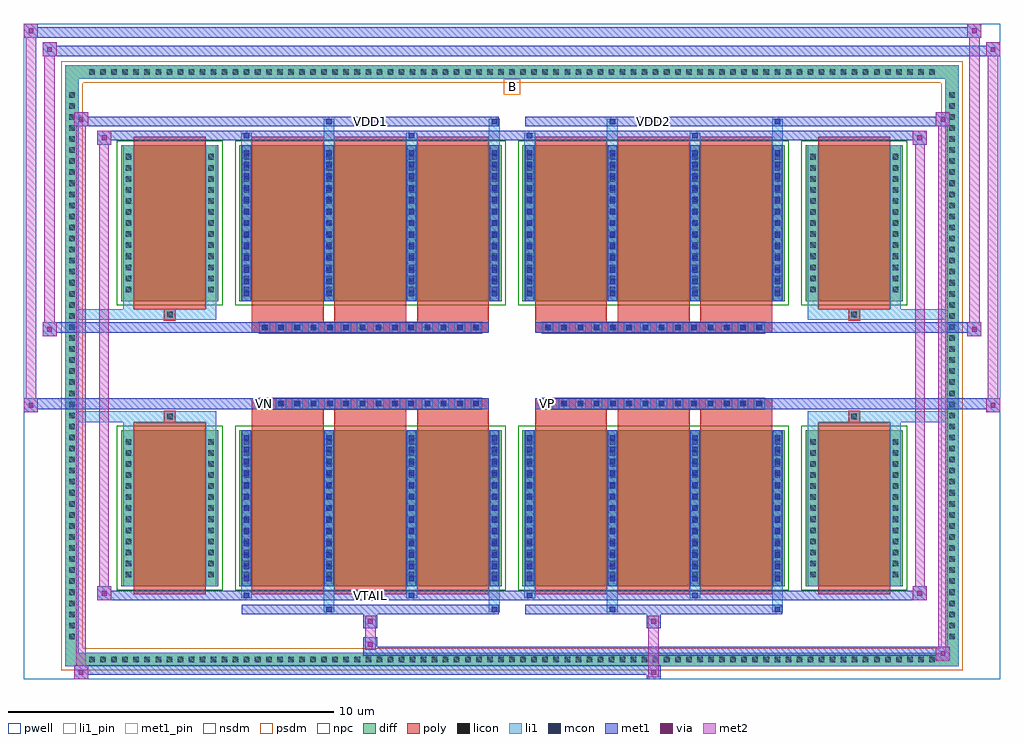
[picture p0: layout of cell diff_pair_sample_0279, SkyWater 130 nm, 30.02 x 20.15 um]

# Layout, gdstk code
import gdstk
lib = gdstk.Library(unit=1e-6, precision=5e-09)
def R(c, l, rs):  # rectangles x0, y0, x1, y1
    for r in rs: c.add(gdstk.rectangle(r[:2], r[2:], *l))
def A(c, l, x, y, w, h, nx, ny, dx, dy):  # array of equal rectangles
    R(c, l, [(x+i*dx, y+j*dy, x+i*dx+w, y+j*dy+h) for i in range(nx) for j in range(ny)])
def P(c, l, *ps):  # polygons
    for p in ps: c.add(gdstk.Polygon(p, *l))
pwell = (64, 44)
diff = (65, 20)
poly = (66, 20)
licon = (66, 44)
li1_pin = (67, 16)
li1 = (67, 20)
mcon = (67, 44)
met1_pin = (68, 16)
met1 = (68, 20)
via = (68, 44)
met2 = (69, 20)
nsdm = (93, 44)
psdm = (94, 20)
npc = (95, 20)

diff_pair_sample_0279 = lib.new_cell('diff_pair_sample_0279')
R(diff_pair_sample_0279, pwell, [(-15.01,-9.64,15.01,10.51), (-12.33,-7.83,-0.01,-0.805), (0.01,-7.83,12.33,-0.805), (-12.33,0.805,-0.01,7.83), (0.01,0.805,12.33,7.83)])
A(diff_pair_sample_0279, diff, -13.125, -9.24, 0.41, 0.41, 77, 2, 0.34, 18.07)
A(diff_pair_sample_0279, diff, -13.74, -8.535, 0.41, 0.41, 1, 50, 0, 0.34)
A(diff_pair_sample_0279, diff, 13.33, -8.535, 0.41, 0.41, 1, 50, 0, 0.34)
R(diff_pair_sample_0279, diff, [(-13.125,-9.24,13.125,-8.83), (-13.74,-8.535,-13.33,8.535), (13.33,-8.535,13.74,8.535), (-12.02,-6.785,-9.03,-1.985), (-8.39,-6.785,-0.32,-1.985), (0.32,-6.785,8.39,-1.985), (9.03,-6.785,12.02,-1.985), (-12.02,1.985,-9.03,6.785), (-8.39,1.985,-0.32,6.785), (0.32,1.985,8.39,6.785), (9.03,1.985,12.02,6.785), (-13.125,8.83,13.125,9.24)])
P(diff_pair_sample_0279, diff, [(13.74,9.24),(-13.74,9.24),(-13.74,-8.83),(-13.33,-8.83),(-13.33,8.83),(13.33,8.83),(13.33,-8.83),(-13.33,-8.83),(-13.74,-8.83),(-13.74,-9.24),(13.74,-9.24)])
A(diff_pair_sample_0279, poly, -8, -7.035, 2.21, 5.3, 3, 2, 2.54, 8.77)
A(diff_pair_sample_0279, poly, 0.71, -7.035, 2.21, 5.3, 3, 2, 2.54, 8.77)
A(diff_pair_sample_0279, poly, -8, -1.735, 2.21, 0.4, 3, 2, 2.54, 3.07)
A(diff_pair_sample_0279, poly, 0.71, -1.735, 2.21, 0.4, 3, 2, 2.54, 3.07)
A(diff_pair_sample_0279, poly, -7.77, -1.335, 0.33, 0.33, 14, 2, 0.5, 2.34)
A(diff_pair_sample_0279, poly, 0.94, -1.335, 0.33, 0.33, 14, 2, 0.5, 2.34)
R(diff_pair_sample_0279, poly, [(-11.63,-7.035,-9.42,-1.735), (9.42,-7.035,11.63,-1.735), (-10.69,-1.735,-10.36,-1.405), (-10.69,-1.735,-10.36,-1.405), (10.36,-1.735,10.69,-1.405), (10.36,-1.735,10.69,-1.405), (-8,-1.335,-0.71,-1.005), (0.71,-1.335,8,-1.005), (-8,1.005,-0.71,1.335), (0.71,1.005,8,1.335), (-10.69,1.405,-10.36,1.735), (-10.69,1.405,-10.36,1.735), (10.36,1.405,10.69,1.735), (10.36,1.405,10.69,1.735), (-11.63,1.735,-9.42,7.035), (9.42,1.735,11.63,7.035)])
A(diff_pair_sample_0279, licon, -13.005, -9.12, 0.17, 0.17, 77, 2, 0.34, 18.07)
A(diff_pair_sample_0279, licon, -13.62, -8.415, 0.17, 0.17, 1, 50, 0, 0.34)
A(diff_pair_sample_0279, licon, 13.45, -8.415, 0.17, 0.17, 1, 50, 0, 0.34)
A(diff_pair_sample_0279, licon, -11.88, -6.51, 0.17, 0.17, 1, 13, 0, 0.34)
A(diff_pair_sample_0279, licon, -9.34, -6.51, 0.17, 0.17, 1, 13, 0, 0.34)
A(diff_pair_sample_0279, licon, -8.25, -6.51, 0.17, 0.17, 4, 13, 2.54, 0.34)
A(diff_pair_sample_0279, licon, 0.46, -6.51, 0.17, 0.17, 4, 13, 2.54, 0.34)
A(diff_pair_sample_0279, licon, 9.17, -6.51, 0.17, 0.17, 1, 13, 0, 0.34)
A(diff_pair_sample_0279, licon, 11.71, -6.51, 0.17, 0.17, 1, 13, 0, 0.34)
A(diff_pair_sample_0279, licon, -7.69, -1.255, 0.17, 0.17, 14, 2, 0.5, 2.34)
A(diff_pair_sample_0279, licon, 1.02, -1.255, 0.17, 0.17, 14, 2, 0.5, 2.34)
A(diff_pair_sample_0279, licon, -11.88, 2.26, 0.17, 0.17, 1, 13, 0, 0.34)
A(diff_pair_sample_0279, licon, -9.34, 2.26, 0.17, 0.17, 1, 13, 0, 0.34)
A(diff_pair_sample_0279, licon, -8.25, 2.26, 0.17, 0.17, 4, 13, 2.54, 0.34)
A(diff_pair_sample_0279, licon, 0.46, 2.26, 0.17, 0.17, 4, 13, 2.54, 0.34)
A(diff_pair_sample_0279, licon, 9.17, 2.26, 0.17, 0.17, 1, 13, 0, 0.34)
A(diff_pair_sample_0279, licon, 11.71, 2.26, 0.17, 0.17, 1, 13, 0, 0.34)
R(diff_pair_sample_0279, licon, [(-10.61,-1.655,-10.44,-1.485), (10.44,-1.655,10.61,-1.485), (-10.61,1.485,-10.44,1.655), (10.44,1.485,10.61,1.655)])
R(diff_pair_sample_0279, li1_pin, [(-0.25,8.33,0.25,8.83)])
A(diff_pair_sample_0279, li1, -13.085, -9.2, 0.33, 0.33, 77, 2, 0.34, 18.07)
A(diff_pair_sample_0279, li1, -13.7, -8.495, 0.33, 0.33, 1, 50, 0, 0.34)
A(diff_pair_sample_0279, li1, 13.37, -8.495, 0.33, 0.33, 1, 50, 0, 0.34)
A(diff_pair_sample_0279, li1, -8.33, -6.785, 0.33, 4.8, 4, 2, 2.54, 8.77)
A(diff_pair_sample_0279, li1, 0.38, -6.785, 0.33, 4.8, 4, 2, 2.54, 8.77)
A(diff_pair_sample_0279, li1, -8.25, -6.63, 0.17, 0.17, 4, 13, 2.54, 0.36)
A(diff_pair_sample_0279, li1, -8.25, -6.63, 0.17, 4.49, 4, 2, 2.54, 8.77)
A(diff_pair_sample_0279, li1, 0.46, -6.63, 0.17, 0.17, 4, 13, 2.54, 0.36)
A(diff_pair_sample_0279, li1, 0.46, -6.63, 0.17, 4.49, 4, 2, 2.54, 8.77)
A(diff_pair_sample_0279, li1, -11.96, -6.59, 0.33, 0.33, 1, 13, 0, 0.34)
A(diff_pair_sample_0279, li1, -9.42, -6.59, 0.33, 0.33, 1, 13, 0, 0.34)
A(diff_pair_sample_0279, li1, -8.33, -6.59, 0.33, 0.33, 4, 13, 2.54, 0.34)
A(diff_pair_sample_0279, li1, 0.38, -6.59, 0.33, 0.33, 4, 13, 2.54, 0.34)
A(diff_pair_sample_0279, li1, 9.09, -6.59, 0.33, 0.33, 1, 13, 0, 0.34)
A(diff_pair_sample_0279, li1, 11.63, -6.59, 0.33, 0.33, 1, 13, 0, 0.34)
A(diff_pair_sample_0279, li1, -7.77, -1.335, 0.33, 0.33, 14, 2, 0.5, 2.34)
A(diff_pair_sample_0279, li1, 0.94, -1.335, 0.33, 0.33, 14, 2, 0.5, 2.34)
A(diff_pair_sample_0279, li1, -8.25, 2.14, 0.17, 0.17, 4, 13, 2.54, 0.36)
A(diff_pair_sample_0279, li1, 0.46, 2.14, 0.17, 0.17, 4, 13, 2.54, 0.36)
A(diff_pair_sample_0279, li1, -11.96, 2.18, 0.33, 0.33, 1, 13, 0, 0.34)
A(diff_pair_sample_0279, li1, -9.42, 2.18, 0.33, 0.33, 1, 13, 0, 0.34)
A(diff_pair_sample_0279, li1, -8.33, 2.18, 0.33, 0.33, 4, 13, 2.54, 0.34)
A(diff_pair_sample_0279, li1, 0.38, 2.18, 0.33, 0.33, 4, 13, 2.54, 0.34)
A(diff_pair_sample_0279, li1, 9.09, 2.18, 0.33, 0.33, 1, 13, 0, 0.34)
A(diff_pair_sample_0279, li1, 11.63, 2.18, 0.33, 0.33, 1, 13, 0, 0.34)
R(diff_pair_sample_0279, li1, [(-13.74,-9.24,-13.33,-8.83), (-13.74,-9.24,-13.33,-8.83), (-13.33,-9.24,13.33,-8.83), (13.33,-9.24,13.74,-8.83), (13.33,-9.24,13.74,-8.83), (-13.74,-8.83,-13.33,8.83), (13.33,-8.83,13.74,8.83), (-5.79,-7.59,-5.46,-6.785), (-5.71,-7.59,-5.54,-7.42), (-0.71,-7.59,-0.38,-6.785), (-0.63,-7.59,-0.46,-7.42), (2.92,-7.59,3.25,-6.785), (3,-7.59,3.17,-7.42), (8,-7.59,8.33,-6.785), (8.08,-7.59,8.25,-7.42), (-8.33,-7.16,-8,-6.785), (-8.25,-7.16,-8.08,-6.99), (-3.25,-7.16,-2.92,-6.785), (-3.17,-7.16,-3,-6.99), (0.38,-7.16,0.71,-6.785), (0.46,-7.16,0.63,-6.99), (5.46,-7.16,5.79,-6.785), (5.54,-7.16,5.71,-6.99), (-11.96,-6.785,-11.63,-1.985), (-9.42,-6.785,-9.09,-1.985), (9.09,-6.785,9.42,-1.985), (11.63,-6.785,11.96,-1.985), (-11.96,-1.985,-11.63,-1.405), (-9.42,-1.985,-9.09,-1.405), (9.09,-1.985,9.42,-1.405), (11.63,-1.985,11.96,-1.405), (-13.74,-1.735,-10.69,-1.405), (-11.96,-1.735,-10.69,-1.405), (-10.69,-1.735,-10.36,-1.405), (-10.36,-1.735,-9.09,-1.405), (9.09,-1.735,10.36,-1.405), (10.36,-1.735,10.69,-1.405), (10.36,-1.735,13.74,-1.405), (10.69,-1.735,11.96,-1.405), (-13.74,1.405,-10.69,1.735), (-11.96,1.405,-10.69,1.735), (-11.96,1.405,-11.63,1.985), (-10.69,1.405,-10.36,1.735), (-10.36,1.405,-9.09,1.735), (-9.42,1.405,-9.09,1.985), (9.09,1.405,10.36,1.735), (9.09,1.405,9.42,1.985), (10.36,1.405,10.69,1.735), (10.36,1.405,13.74,1.735), (10.69,1.405,11.96,1.735), (11.63,1.405,11.96,1.985), (-11.96,1.985,-11.63,6.785), (-9.42,1.985,-9.09,6.785), (9.09,1.985,9.42,6.785), (11.63,1.985,11.96,6.785), (-8.33,6.785,-8,7.16), (-5.79,6.785,-5.46,7.59), (-3.25,6.785,-2.92,7.16), (-0.71,6.785,-0.38,7.59), (0.38,6.785,0.71,7.16), (2.92,6.785,3.25,7.59), (5.46,6.785,5.79,7.16), (8,6.785,8.33,7.59), (-8.25,6.99,-8.08,7.16), (-3.17,6.99,-3,7.16), (0.46,6.99,0.63,7.16), (5.54,6.99,5.71,7.16), (-5.71,7.42,-5.54,7.59), (-0.63,7.42,-0.46,7.59), (3,7.42,3.17,7.59), (8.08,7.42,8.25,7.59), (-13.74,8.83,-13.33,9.24), (-13.74,8.83,-13.33,9.24), (-13.33,8.83,13.33,9.24), (13.33,8.83,13.74,9.24), (13.33,8.83,13.74,9.24)])
A(diff_pair_sample_0279, mcon, -8.25, -6.63, 0.17, 0.17, 4, 13, 2.54, 0.36)
A(diff_pair_sample_0279, mcon, 0.46, -6.63, 0.17, 0.17, 4, 13, 2.54, 0.36)
A(diff_pair_sample_0279, mcon, -7.69, -1.255, 0.17, 0.17, 14, 2, 0.5, 2.34)
A(diff_pair_sample_0279, mcon, 1.02, -1.255, 0.17, 0.17, 14, 2, 0.5, 2.34)
A(diff_pair_sample_0279, mcon, -8.25, 2.14, 0.17, 0.17, 4, 13, 2.54, 0.36)
A(diff_pair_sample_0279, mcon, 0.46, 2.14, 0.17, 0.17, 4, 13, 2.54, 0.36)
R(diff_pair_sample_0279, mcon, [(-5.71,-7.59,-5.54,-7.42), (-0.63,-7.59,-0.46,-7.42), (3,-7.59,3.17,-7.42), (8.08,-7.59,8.25,-7.42), (-8.25,-7.16,-8.08,-6.99), (-3.17,-7.16,-3,-6.99), (0.46,-7.16,0.63,-6.99), (5.54,-7.16,5.71,-6.99), (-8.25,6.99,-8.08,7.16), (-3.17,6.99,-3,7.16), (0.46,6.99,0.63,7.16), (5.54,6.99,5.71,7.16), (-5.71,7.42,-5.54,7.59), (-0.63,7.42,-0.46,7.59), (3,7.42,3.17,7.59), (8.08,7.42,8.25,7.59)])
R(diff_pair_sample_0279, met1_pin, [(-4.49,-7.2,-4.22,-6.93), (-7.74,-1.295,-7.47,-1.025), (0.97,-1.295,1.24,-1.025), (-4.49,7.38,-4.22,7.65), (4.22,7.38,4.49,7.65)])
A(diff_pair_sample_0279, met1, -8.31, -6.785, 0.29, 4.8, 4, 2, 2.54, 8.77)
A(diff_pair_sample_0279, met1, 0.4, -6.785, 0.29, 4.8, 4, 2, 2.54, 8.77)
A(diff_pair_sample_0279, met1, -8.31, -6.69, 0.29, 0.29, 4, 13, 2.54, 0.36)
A(diff_pair_sample_0279, met1, 0.4, -6.69, 0.29, 0.29, 4, 13, 2.54, 0.36)
A(diff_pair_sample_0279, met1, -7.75, -1.315, 0.29, 0.29, 14, 2, 0.5, 2.34)
A(diff_pair_sample_0279, met1, 0.96, -1.315, 0.29, 0.29, 14, 2, 0.5, 2.34)
A(diff_pair_sample_0279, met1, -8.31, 2.08, 0.29, 0.29, 4, 13, 2.54, 0.36)
A(diff_pair_sample_0279, met1, 0.4, 2.08, 0.29, 0.29, 4, 13, 2.54, 0.36)
R(diff_pair_sample_0279, met1, [(-13.47,-9.64,-13.04,-9.21), (4.14,-9.64,4.57,-9.21), (-13.47,-9.5,4.57,-9.21), (13.04,-9.07,13.47,-8.64), (-4.57,-8.93,13.47,-8.64), (-4.57,-8.79,-4.14,-8.36), (-4.57,-8.08,-4.14,-7.65), (4.14,-8.08,4.57,-7.65), (-8.31,-7.65,-0.4,-7.36), (-5.77,-7.65,-5.48,-7.36), (-0.69,-7.65,-0.4,-7.36), (0.4,-7.65,8.31,-7.36), (2.94,-7.65,3.23,-7.36), (8.02,-7.65,8.31,-7.36), (-12.76,-7.22,-12.33,-6.79), (-12.76,-7.22,-8.31,-6.93), (-8.31,-7.22,-8.02,-6.93), (-8.31,-7.22,-0.4,-6.93), (-3.23,-7.22,-2.94,-6.93), (-0.4,-7.22,0.4,-6.93), (0.4,-7.22,0.69,-6.93), (0.4,-7.22,8.31,-6.93), (5.48,-7.22,5.77,-6.93), (8.31,-7.22,12.76,-6.93), (12.33,-7.22,12.76,-6.79), (-15.01,-1.435,-14.58,-1.005), (14.58,-1.435,15.01,-1.005), (-15.01,-1.335,-0.71,-1.005), (-8,-1.335,-0.71,-1.005), (0.71,-1.335,8,-1.005), (0.71,-1.335,15.01,-1.005), (-14.44,0.905,-14.01,1.335), (14.01,0.905,14.44,1.335), (-14.44,1.005,-8,1.335), (-8,1.005,-0.71,1.335), (0.71,1.005,8,1.335), (8,1.005,14.44,1.335), (-12.76,6.79,-12.33,7.22), (12.33,6.79,12.76,7.22), (-12.76,6.93,-8.31,7.22), (-8.31,6.93,-8.02,7.22), (-8.31,6.93,-0.4,7.22), (-3.23,6.93,-2.94,7.22), (-0.4,6.93,0.4,7.22), (0.4,6.93,0.69,7.22), (0.4,6.93,8.31,7.22), (5.48,6.93,5.77,7.22), (8.31,6.93,12.76,7.22), (-13.47,7.36,-13.04,7.79), (-13.47,7.36,-8.31,7.65), (-8.31,7.36,-0.4,7.65), (-5.77,7.36,-5.48,7.65), (-0.69,7.36,-0.4,7.65), (0.4,7.36,8.31,7.65), (2.94,7.36,3.23,7.65), (8.02,7.36,8.31,7.65), (8.31,7.36,13.47,7.65), (13.04,7.36,13.47,7.79), (-14.44,9.51,-14.01,9.94), (-14.44,9.51,-12.33,9.84), (-12.33,9.51,12.33,9.84), (12.33,9.51,15.01,9.84), (14.58,9.51,15.01,9.94), (-15.01,10.08,-14.58,10.51), (-15.01,10.08,-12.33,10.41), (-12.33,10.08,12.33,10.41), (12.33,10.08,14.44,10.41), (14.01,10.08,14.44,10.51)])
R(diff_pair_sample_0279, via, [(-13.33,-9.5,-13.18,-9.35), (4.28,-9.5,4.43,-9.35), (13.18,-8.93,13.33,-8.78), (-4.43,-8.65,-4.28,-8.5), (-4.43,-7.94,-4.28,-7.79), (4.28,-7.94,4.43,-7.79), (-12.62,-7.08,-12.47,-6.93), (12.47,-7.08,12.62,-6.93), (-14.87,-1.295,-14.72,-1.145), (14.72,-1.295,14.87,-1.145), (-14.3,1.045,-14.15,1.195), (14.15,1.045,14.3,1.195), (-12.62,6.93,-12.47,7.08), (12.47,6.93,12.62,7.08), (-13.33,7.5,-13.18,7.65), (13.18,7.5,13.33,7.65), (-14.3,9.65,-14.15,9.8), (14.72,9.65,14.87,9.8), (-14.87,10.22,-14.72,10.37), (14.15,10.22,14.3,10.37)])
R(diff_pair_sample_0279, met2, [(-13.47,-9.64,-13.04,-9.21), (-13.4,-9.64,-13.11,7.79), (-13.11,-9.64,-13.04,-9.21), (-13.42,-9.59,-13.09,-9.26), (4.19,-9.59,4.52,-9.26), (4.19,-9.26,4.52,-8.03), (13.04,-9.07,13.47,-8.64), (13.11,-9.07,13.4,7.79), (13.4,-9.07,13.47,-8.64), (13.09,-9.02,13.42,-8.69), (-4.52,-8.74,-4.19,-8.41), (-4.52,-8.41,-4.19,-8.03), (-4.52,-8.03,-4.19,-7.7), (4.19,-8.03,4.52,-7.7), (-12.76,-7.22,-12.33,-6.79), (-12.69,-7.22,-12.4,7.22), (-12.4,-7.22,-12.33,-6.79), (12.33,-7.22,12.76,-6.79), (12.4,-7.22,12.69,7.22), (12.69,-7.22,12.76,-6.79), (-12.71,-7.17,-12.38,-6.84), (12.38,-7.17,12.71,-6.84), (-15.01,-1.435,-14.58,-1.005), (-14.96,-1.435,-14.63,10.51), (-14.63,-1.435,-14.58,-1.005), (14.58,-1.435,15.01,-1.005), (14.63,-1.435,14.96,9.94), (14.96,-1.435,15.01,-1.005), (-14.96,-1.385,-14.63,-1.055), (14.63,-1.385,14.96,-1.055), (-14.44,0.905,-14.01,1.335), (-14.39,0.905,-14.06,9.94), (-14.06,0.905,-14.01,1.335), (14.01,0.905,14.44,1.335), (14.06,0.905,14.39,10.51), (14.39,0.905,14.44,1.335), (-14.39,0.955,-14.06,1.285), (14.06,0.955,14.39,1.285), (-12.76,6.79,-12.33,7.22), (-12.4,6.79,-12.33,7.22), (12.33,6.79,12.76,7.22), (12.69,6.79,12.76,7.22), (-12.71,6.84,-12.38,7.17), (12.38,6.84,12.71,7.17), (-13.47,7.36,-13.04,7.79), (-13.11,7.36,-13.04,7.79), (13.04,7.36,13.47,7.79), (13.4,7.36,13.47,7.79), (-13.42,7.41,-13.09,7.74), (13.09,7.41,13.42,7.74), (-14.44,9.51,-14.01,9.94), (-14.06,9.51,-14.01,9.94), (14.58,9.51,15.01,9.94), (14.96,9.51,15.01,9.94), (-14.39,9.56,-14.06,9.89), (14.63,9.56,14.96,9.89), (-15.01,10.08,-14.58,10.51), (-14.63,10.08,-14.58,10.51), (14.01,10.08,14.44,10.51), (14.39,10.08,14.44,10.51), (-14.96,10.13,-14.63,10.46), (14.06,10.13,14.39,10.46)])
R(diff_pair_sample_0279, nsdm, [(-12.15,-6.915,-8.9,-1.855), (-8.52,-6.915,-0.19,-1.855), (0.19,-6.915,8.52,-1.855), (8.9,-6.915,12.15,-1.855), (-12.15,1.855,-8.9,6.915), (-8.52,1.855,-0.19,6.915), (0.19,1.855,8.52,6.915), (8.9,1.855,12.15,6.915)])
P(diff_pair_sample_0279, psdm, [(13.87,9.37),(-13.87,9.37),(-13.87,-8.7),(-13.2,-8.7),(-13.2,8.7),(13.2,8.7),(13.2,-8.7),(-13.2,-8.7),(-13.87,-8.7),(-13.87,-9.37),(13.87,-9.37)])
A(diff_pair_sample_0279, npc, -7.79, -1.355, 0.37, 0.37, 14, 2, 0.5, 2.34)
A(diff_pair_sample_0279, npc, 0.92, -1.355, 0.37, 0.37, 14, 2, 0.5, 2.34)
R(diff_pair_sample_0279, npc, [(-10.71,-1.755,-10.34,-1.385), (10.34,-1.755,10.71,-1.385), (-7.79,-1.355,-6.92,-0.985), (-7.79,-1.355,-6.92,-0.985), (-7.29,-1.355,-6.42,-0.985), (-7.29,-1.355,-6.42,-0.985), (-6.79,-1.355,-5.92,-0.985), (-6.79,-1.355,-5.92,-0.985), (-6.29,-1.355,-5.42,-0.985), (-6.29,-1.355,-5.42,-0.985), (-5.79,-1.355,-4.92,-0.985), (-5.79,-1.355,-4.92,-0.985), (-5.29,-1.355,-4.42,-0.985), (-5.29,-1.355,-4.42,-0.985), (-4.79,-1.355,-3.92,-0.985), (-4.79,-1.355,-3.92,-0.985), (-4.29,-1.355,-3.42,-0.985), (-4.29,-1.355,-3.42,-0.985), (-3.79,-1.355,-2.92,-0.985), (-3.79,-1.355,-2.92,-0.985), (-3.29,-1.355,-2.42,-0.985), (-3.29,-1.355,-2.42,-0.985), (-2.79,-1.355,-1.92,-0.985), (-2.79,-1.355,-1.92,-0.985), (-2.29,-1.355,-1.42,-0.985), (-2.29,-1.355,-1.42,-0.985), (-1.79,-1.355,-0.92,-0.985), (-1.79,-1.355,-0.92,-0.985), (0.92,-1.355,1.79,-0.985), (0.92,-1.355,1.79,-0.985), (1.42,-1.355,2.29,-0.985), (1.42,-1.355,2.29,-0.985), (1.92,-1.355,2.79,-0.985), (1.92,-1.355,2.79,-0.985), (2.42,-1.355,3.29,-0.985), (2.42,-1.355,3.29,-0.985), (2.92,-1.355,3.79,-0.985), (2.92,-1.355,3.79,-0.985), (3.42,-1.355,4.29,-0.985), (3.42,-1.355,4.29,-0.985), (3.92,-1.355,4.79,-0.985), (3.92,-1.355,4.79,-0.985), (4.42,-1.355,5.29,-0.985), (4.42,-1.355,5.29,-0.985), (4.92,-1.355,5.79,-0.985), (4.92,-1.355,5.79,-0.985), (5.42,-1.355,6.29,-0.985), (5.42,-1.355,6.29,-0.985), (5.92,-1.355,6.79,-0.985), (5.92,-1.355,6.79,-0.985), (6.42,-1.355,7.29,-0.985), (6.42,-1.355,7.29,-0.985), (6.92,-1.355,7.79,-0.985), (6.92,-1.355,7.79,-0.985), (-7.79,0.985,-6.92,1.355), (-7.79,0.985,-6.92,1.355), (-7.29,0.985,-6.42,1.355), (-7.29,0.985,-6.42,1.355), (-6.79,0.985,-5.92,1.355), (-6.79,0.985,-5.92,1.355), (-6.29,0.985,-5.42,1.355), (-6.29,0.985,-5.42,1.355), (-5.79,0.985,-4.92,1.355), (-5.79,0.985,-4.92,1.355), (-5.29,0.985,-4.42,1.355), (-5.29,0.985,-4.42,1.355), (-4.79,0.985,-3.92,1.355), (-4.79,0.985,-3.92,1.355), (-4.29,0.985,-3.42,1.355), (-4.29,0.985,-3.42,1.355), (-3.79,0.985,-2.92,1.355), (-3.79,0.985,-2.92,1.355), (-3.29,0.985,-2.42,1.355), (-3.29,0.985,-2.42,1.355), (-2.79,0.985,-1.92,1.355), (-2.79,0.985,-1.92,1.355), (-2.29,0.985,-1.42,1.355), (-2.29,0.985,-1.42,1.355), (-1.79,0.985,-0.92,1.355), (-1.79,0.985,-0.92,1.355), (0.92,0.985,1.79,1.355), (0.92,0.985,1.79,1.355), (1.42,0.985,2.29,1.355), (1.42,0.985,2.29,1.355), (1.92,0.985,2.79,1.355), (1.92,0.985,2.79,1.355), (2.42,0.985,3.29,1.355), (2.42,0.985,3.29,1.355), (2.92,0.985,3.79,1.355), (2.92,0.985,3.79,1.355), (3.42,0.985,4.29,1.355), (3.42,0.985,4.29,1.355), (3.92,0.985,4.79,1.355), (3.92,0.985,4.79,1.355), (4.42,0.985,5.29,1.355), (4.42,0.985,5.29,1.355), (4.92,0.985,5.79,1.355), (4.92,0.985,5.79,1.355), (5.42,0.985,6.29,1.355), (5.42,0.985,6.29,1.355), (5.92,0.985,6.79,1.355), (5.92,0.985,6.79,1.355), (6.42,0.985,7.29,1.355), (6.42,0.985,7.29,1.355), (6.92,0.985,7.79,1.355), (6.92,0.985,7.79,1.355), (-10.71,1.385,-10.34,1.755), (10.34,1.385,10.71,1.755)])
diff_pair_sample_0279.add(gdstk.Label('VTAIL', (-4.355,-7.065), layer=68, texttype=5))
diff_pair_sample_0279.add(gdstk.Label('VN', (-7.605,-1.16), layer=68, texttype=5))
diff_pair_sample_0279.add(gdstk.Label('VP', (1.105,-1.16), layer=68, texttype=5))
diff_pair_sample_0279.add(gdstk.Label('B', (0,8.58), layer=67, texttype=5))
diff_pair_sample_0279.add(gdstk.Label('VDD2', (4.355,7.515), layer=68, texttype=5))
diff_pair_sample_0279.add(gdstk.Label('VDD1', (-4.355,7.515), layer=68, texttype=5))

lib.write_gds('diff_pair_sample_0279.gds')
